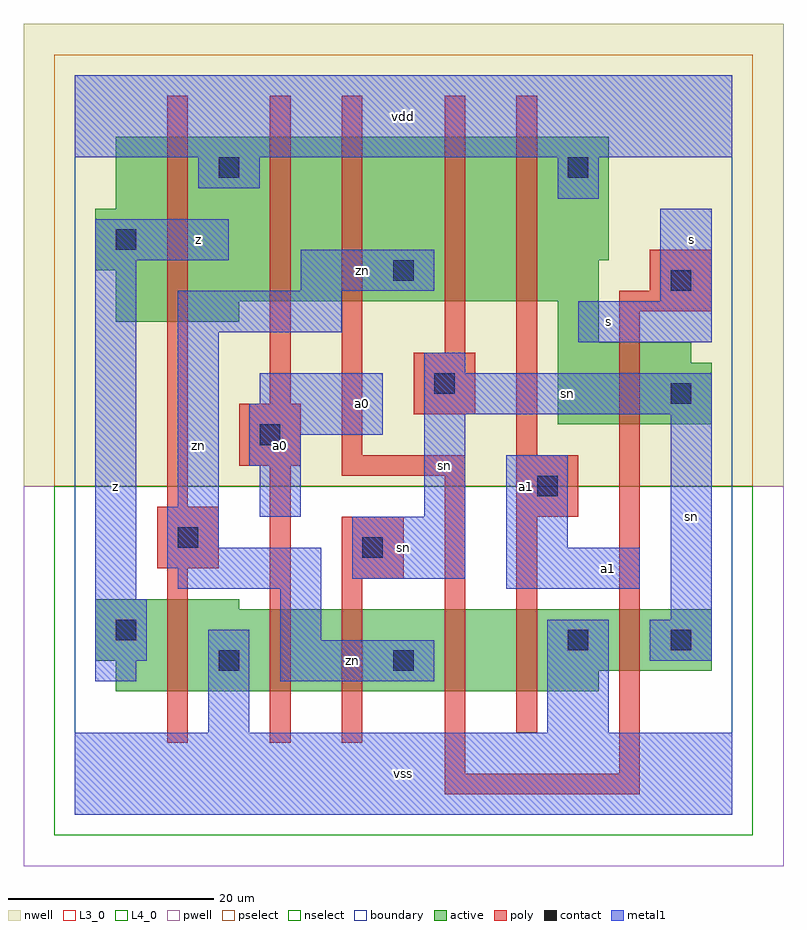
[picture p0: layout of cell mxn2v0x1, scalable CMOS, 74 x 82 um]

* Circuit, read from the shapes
.subckt mxn2v0x1 a0 a1 s sn vdd vss z zn
M1 vss zn z VSUBS nfet w=9u l=2u
M2 n1 a0 vss VSUBS nfet w=8u l=2u
M3 zn sn n1 VSUBS nfet w=8u l=2u
M4 n2 s zn VSUBS nfet w=8u l=2u
M5 vss a1 n2 VSUBS nfet w=8u l=2u
M6 sn s vss VSUBS nfet w=6u l=2u
M7 vdd zn z n3 pfet w=18u l=2u
M8 n4 a0 vdd n3 pfet w=16u l=2u
M9 zn s n4 n3 pfet w=16u l=2u
M10 n5 sn zn n3 pfet w=16u l=2u
M11 vdd a1 n5 n3 pfet w=16u l=2u
M12 sn s vdd n3 pfet w=8u l=2u
.ends

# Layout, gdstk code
import gdstk
lib = gdstk.Library(unit=1e-6, precision=1e-09)
def R(c, l, rs):  # rectangles x0, y0, x1, y1
    for r in rs: c.add(gdstk.rectangle(r[:2], r[2:], *l))
L3_0 = (3, 0)
L4_0 = (4, 0)
contact = (25, 0)
pwell = (41, 0)
nwell = (42, 0)
active = (43, 0)
pselect = (44, 0)
nselect = (45, 0)
poly = (46, 0)
metal1 = (49, 0)
boundary = (63, 0)

mxn2v0x1 = lib.new_cell('mxn2v0x1')
R(mxn2v0x1, L3_0, [(4,12,51,14), (4,14,62,15), (2,15,62,20), (2,20,16,21)])
R(mxn2v0x1, L4_0, [(47,38,62,44), (47,44,60,46), (47,46,51,50), (4,48,16,50), (4,50,51,53), (2,53,51,54), (2,54,52,59), (4,59,52,66)])
R(mxn2v0x1, contact, [(14,14,16,16), (31,14,33,16), (48,16,50,18), (58,16,60,18), (4,17,6,19), (28,25,30,27), (10,26,12,28), (45,31,47,33), (18,36,20,38), (58,40,60,42), (35,41,37,43), (58,51,60,53), (31,52,33,54), (4,55,6,57), (14,62,16,64), (48,62,50,64)])
R(mxn2v0x1, pwell, [(-5,-5,69,32)])
R(mxn2v0x1, nwell, [(-5,32,69,77)])
R(mxn2v0x1, active, [(4,12,51,14), (4,14,62,15), (2,15,62,20), (2,20,16,21), (47,38,62,44), (47,44,60,46), (47,46,51,50), (4,48,16,50), (4,50,51,53), (2,53,51,54), (2,54,52,59), (4,59,52,66)])
R(mxn2v0x1, pselect, [(-2,32,66,74)])
R(mxn2v0x1, nselect, [(-2,-2,66,32)])
R(mxn2v0x1, poly, [(36,2,55,4), (36,4,38,33), (53,4,55,49), (9,7,11,24), (19,7,21,34), (26,7,28,23), (43,8,45,29), (26,23,32,29), (8,24,14,30), (43,29,49,35), (9,30,11,70), (26,33,38,35), (16,34,22,40), (26,35,28,70), (43,35,45,70), (33,39,39,45), (19,40,21,70), (36,45,38,70), (53,49,62,51), (56,51,62,55)])
R(mxn2v0x1, metal1, [(0,0,64,8), (13,8,17,18), (46,8,52,19), (2,13,6,15), (20,13,35,17), (2,15,7,21), (56,15,62,19), (20,17,24,22), (58,19,62,39), (2,21,6,54), (10,22,24,24), (42,22,55,26), (27,23,38,29), (9,24,24,26), (9,26,14,30), (42,26,48,35), (18,29,22,34), (34,29,38,39), (10,30,14,47), (17,34,22,37), (17,37,30,40), (34,39,62,43), (18,40,30,43), (34,43,38,45), (49,46,62,50), (10,47,26,51), (57,50,62,59), (22,51,35,55), (2,54,15,58), (47,60,51,64), (12,61,18,64), (0,64,64,72)])
R(mxn2v0x1, boundary, [(0,0,64,72)])
mxn2v0x1.add(gdstk.Label('zn', (12,36), layer=49, texttype=0))
mxn2v0x1.add(gdstk.Label('zn', (27,15), layer=49, texttype=0))
mxn2v0x1.add(gdstk.Label('sn', (32,26), layer=49, texttype=0))
mxn2v0x1.add(gdstk.Label('sn', (36,34), layer=49, texttype=0))
mxn2v0x1.add(gdstk.Label('zn', (28,53), layer=49, texttype=0))
mxn2v0x1.add(gdstk.Label('sn', (60,29), layer=49, texttype=0))
mxn2v0x1.add(gdstk.Label('sn', (48,41), layer=49, texttype=0))
mxn2v0x1.add(gdstk.Label('z', (4,32), layer=49, texttype=0))
mxn2v0x1.add(gdstk.Label('z', (12,56), layer=49, texttype=0))
mxn2v0x1.add(gdstk.Label('a0', (28,40), layer=49, texttype=0))
mxn2v0x1.add(gdstk.Label('a0', (20,36), layer=49, texttype=0))
mxn2v0x1.add(gdstk.Label('vss', (32,4), layer=49, texttype=0))
mxn2v0x1.add(gdstk.Label('a1', (44,32), layer=49, texttype=0))
mxn2v0x1.add(gdstk.Label('vdd', (32,68), layer=49, texttype=0))
mxn2v0x1.add(gdstk.Label('a1', (52,24), layer=49, texttype=0))
mxn2v0x1.add(gdstk.Label('s', (52,48), layer=49, texttype=0))
mxn2v0x1.add(gdstk.Label('s', (60,56), layer=49, texttype=0))

lib.write_gds('mxn2v0x1.gds')
